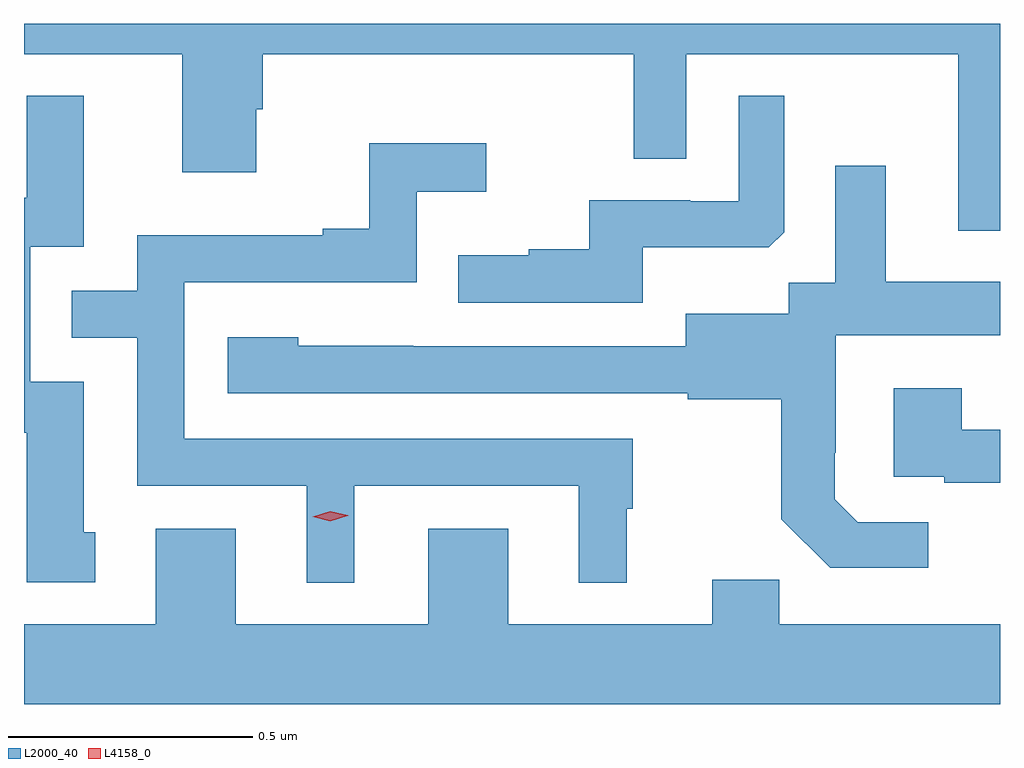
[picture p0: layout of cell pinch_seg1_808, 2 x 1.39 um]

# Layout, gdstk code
import gdstk
lib = gdstk.Library(unit=1e-6, precision=1e-09)
def P(c, l, *ps):  # polygons
    for p in ps: c.add(gdstk.Polygon(p, *l))
L2000_40 = (2000, 40)
L4158_0 = (4158, 0)

pinch_seg1_808 = lib.new_cell('pinch_seg1_808')
P(pinch_seg1_808, L2000_40, [(605.981,569.048),(606.305,569.048),(606.305,568.806),(606.457,568.806),(606.457,568.935),(606.47,568.935),(606.47,569.048),(607.23,569.048),(607.23,568.834),(607.338,568.834),(607.338,569.048),(607.895,569.048),(607.895,568.686),(607.981,568.686),(607.981,569.11),(605.981,569.11)],
  [(606.127,568.068),(606.103,568.068),(606.103,568.377),(605.994,568.377),(605.994,568.653),(606.103,568.653),(606.103,568.963),(605.987,568.963),(605.987,568.754),(605.981,568.754),(605.981,568.272),(605.987,568.272),(605.987,567.966),(606.127,567.966)],
  [(607.249,568.652),(607.507,568.652),(607.539,568.683),(607.539,568.963),(607.446,568.963),(607.446,568.746),(607.346,568.746),(607.346,568.749),(607.139,568.749),(607.139,568.648),(607.015,568.648),(607.015,568.636),(606.871,568.636),(606.871,568.539),(607.249,568.539)],
  [(606.658,568.164),(607.118,568.164),(607.118,567.965),(607.216,567.965),(607.216,568.116),(607.228,568.116),(607.228,568.26),(606.309,568.26),(606.309,568.581),(606.786,568.581),(606.786,568.766),(606.928,568.766),(606.928,568.865),(606.688,568.865),(606.688,568.69),(606.593,568.69),(606.593,568.677),(606.213,568.677),(606.213,568.563),(606.079,568.563),(606.079,568.467),(606.213,568.467),(606.213,568.164),(606.56,568.164),(606.56,567.965),(606.658,567.965)],
  [(607.834,568.089),(607.689,568.089),(607.642,568.136),(607.642,568.231),(607.644,568.231),(607.644,568.472),(607.981,568.472),(607.981,568.582),(607.747,568.582),(607.747,568.819),(607.643,568.819),(607.643,568.58),(607.548,568.58),(607.548,568.516),(607.337,568.516),(607.337,568.449),(606.779,568.449),(606.779,568.45),(606.543,568.45),(606.543,568.468),(606.399,568.468),(606.399,568.353),(607.341,568.353),(607.341,568.341),(607.533,568.341),(607.533,568.095),(607.633,567.995),(607.834,567.995)],
  [(607.981,568.278),(607.903,568.278),(607.903,568.363),(607.763,568.363),(607.763,568.182),(607.867,568.182),(607.867,568.17),(607.981,568.17)],
  [(607.981,567.88),(607.529,567.88),(607.529,567.971),(607.391,567.971),(607.391,567.88),(606.973,567.88),(606.973,568.075),(606.809,568.075),(606.809,567.88),(606.415,567.88),(606.415,568.075),(606.251,568.075),(606.251,567.88),(605.981,567.88),(605.981,567.716),(607.981,567.716)])
P(pinch_seg1_808, L4158_0, [(606.609,568.091),(606.573,568.1),(606.573,568.1),(606.573,568.1),(606.609,568.111),(606.644,568.103),(606.645,568.102),(606.644,568.102)])

lib.write_gds('pinch_seg1_808.gds')
